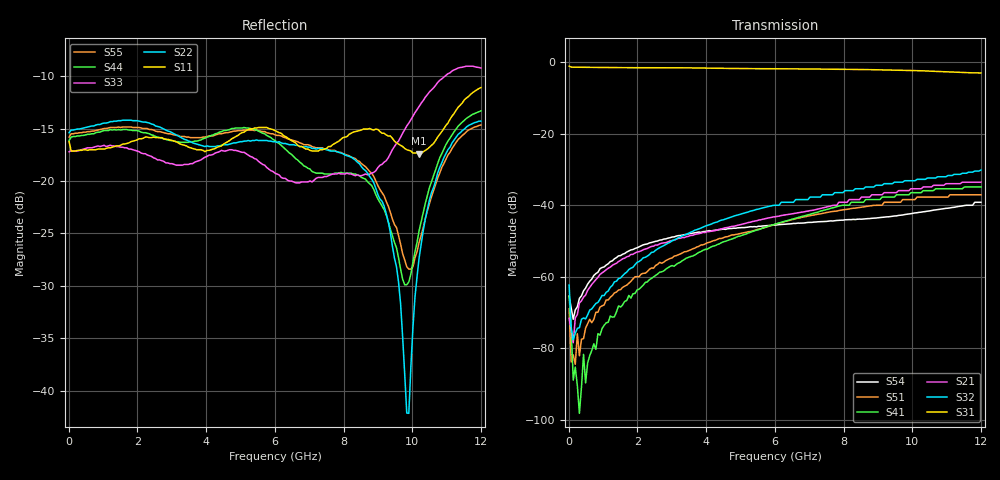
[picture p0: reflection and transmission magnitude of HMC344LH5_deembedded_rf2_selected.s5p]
! Hittite Microwave Corporation
! 20 Alpha Road
! Chelmsford, MA 01824
! Tel: 978-250-3343
! Fax: 978-250-3373
! Device: HMC344LH5, DC-12 GHz GaAs MMIC SP4T Non-Reflective Switch in Hermetic Leadless SMT Package
! Misc: Data was de-embedded to package pins.
!  Port 1 = RFC
!  Port 2 = RF1
!  Port 3 = RF2
!  Port 4 = RF3
!  Port 5 = RF4
!  RF2 selected, Vctl= 0/-5 V
!  Data reformated to new Touchstone file format - Tue Jan 09 13:44:54 2007
# MHz S DB R 50
! 5 Port Network Data
! freq  dbS11  angS11  dbS12  angS12  dbS13  angS13  dbS14  angS14
!  dbS15  angS15
!  dbS21  angS21  dbS22  angS22  dbS23  angS23
!  dbS24  angS24  dbS25  angS25
!  dbS31  angS31  dbS32  angS32
!  dbS33  angS33  dbS34  angS34  dbS35  angS35
!  dbS41  angS41
!  dbS42  angS42  dbS43  angS43  dbS44  angS44  dbS45  angS45
!  dbS51  angS51  dbS52  angS52  dbS53  angS53  dbS54  angS54
!  dbS55  angS55
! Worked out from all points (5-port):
!   201 points, 10 MHz to 12 GHz, reference 50 ohm
!   strongest paths, dB at 10 MHz, 3.007 GHz, 6.005 GHz, 9.002 GHz, 12 GHz:
!     S31: -1.2, -1.6, -1.9, -2.2, -3.0
!     S32: -62.3, -49.9, -40.0, -34.4, -30.2
!     S21: -71.6, -49.9, -43.2, -37.1, -33.6
!     S41: -65.4, -56.8, -45.3, -38.4, -34.9
!     S51: -68.9, -54.7, -45.3, -40.0, -37.1
!     S54: -65.3, -48.9, -45.5, -43.5, -39.2
!   lowest |S11| = -17.4 dB at 10.2 GHz (marker M1), VSWR 1.31, Z = 58.4 + j12.1 ohm
!   |S11| at or under -10 dB: start of sweep to end of sweep
